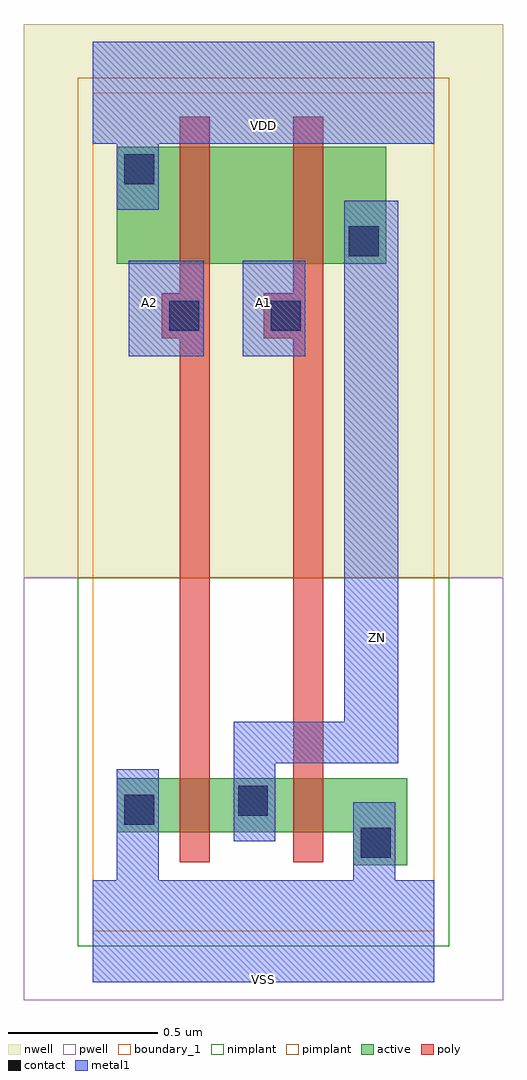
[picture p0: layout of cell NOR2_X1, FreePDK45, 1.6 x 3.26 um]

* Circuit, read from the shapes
.subckt NOR2_X1 A1 A2 VDD VSS ZN
M1 ZN A2 VSS VSUBS nfet w=0.18u l=0.1u
M2 VSS A1 ZN VSUBS nfet w=0.18u l=0.1u
M3 n1 A2 VDD n2 pfet w=0.39u l=0.1u
M4 ZN A1 n1 n2 pfet w=0.39u l=0.1u
.ends

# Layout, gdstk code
import gdstk
lib = gdstk.Library(unit=1e-6, precision=1e-09)
def R(c, l, rs):  # rectangles x0, y0, x1, y1
    for r in rs: c.add(gdstk.rectangle(r[:2], r[2:], *l))
def P(c, l, *ps):  # polygons
    for p in ps: c.add(gdstk.Polygon(p, *l))
active = (1, 0)
pwell = (2, 0)
nwell = (3, 0)
nimplant = (4, 0)
pimplant = (5, 0)
poly = (9, 0)
contact = (10, 0)
metal1 = (11, 0)
boundary_1 = (235, 1)

nor2_x1 = lib.new_cell('NOR2_X1')
R(nor2_x1, active, [(0.08,2.23,0.98,2.62)])
P(nor2_x1, active, [(0.08,0.33),(0.87,0.33),(0.87,0.22),(1.05,0.22),(1.05,0.51),(0.08,0.51)])
R(nor2_x1, pwell, [(-0.23,-0.23,1.37,1.18)])
R(nor2_x1, nwell, [(-0.23,1.18,1.37,3.03)])
R(nor2_x1, nimplant, [(-0.05,-0.05,1.19,1.18)])
R(nor2_x1, pimplant, [(-0.05,1.18,1.19,2.85)])
P(nor2_x1, poly, [(0.57,1.98),(0.67,1.98),(0.67,0.23),(0.77,0.23),(0.77,2.72),(0.67,2.72),(0.67,2.13),(0.57,2.13)],
  [(0.23,1.98),(0.29,1.98),(0.29,0.23),(0.39,0.23),(0.39,2.72),(0.29,2.72),(0.29,2.13),(0.23,2.13)])
R(nor2_x1, contact, [(0.895,0.245,0.995,0.345), (0.105,0.355,0.205,0.455), (0.485,0.385,0.585,0.485), (0.255,2.005,0.355,2.105), (0.595,2.005,0.695,2.105), (0.855,2.255,0.955,2.355), (0.105,2.495,0.205,2.595)])
R(nor2_x1, metal1, [(0.12,1.92,0.37,2.24), (0.12,1.92,0.37,2.24), (0.5,1.92,0.71,2.24), (0.5,1.92,0.71,2.24)])
P(nor2_x1, metal1, [(0.47,0.3),(0.61,0.3),(0.61,0.56),(1.02,0.56),(1.02,2.44),(0.84,2.44),(0.84,0.7),(0.47,0.7)],
  [(0,-0.17),(1.14,-0.17),(1.14,0.17),(1.01,0.17),(1.01,0.43),(0.87,0.43),(0.87,0.17),(0.22,0.17),(0.22,0.54),(0.08,0.54),(0.08,0.17),(0,0.17)],
  [(0,2.63),(0.08,2.63),(0.08,2.41),(0.22,2.41),(0.22,2.63),(1.14,2.63),(1.14,2.97),(0,2.97)],
  [(0,2.63),(0.08,2.63),(0.08,2.41),(0.22,2.41),(0.22,2.63),(1.14,2.63),(1.14,2.97),(0,2.97)],
  [(0,-0.17),(1.14,-0.17),(1.14,0.17),(1.01,0.17),(1.01,0.43),(0.87,0.43),(0.87,0.17),(0.22,0.17),(0.22,0.54),(0.08,0.54),(0.08,0.17),(0,0.17)],
  [(0.47,0.3),(0.61,0.3),(0.61,0.56),(1.02,0.56),(1.02,2.44),(0.84,2.44),(0.84,0.7),(0.47,0.7)])
R(nor2_x1, boundary_1, [(0,0,1.14,2.8)])
nor2_x1.add(gdstk.Label('ZN', (0.95,0.98), layer=11, texttype=0))
nor2_x1.add(gdstk.Label('VSS', (0.57,-0.16), layer=11, texttype=0))
nor2_x1.add(gdstk.Label('VDD', (0.57,2.69), layer=11, texttype=0))
nor2_x1.add(gdstk.Label('A2', (0.19,2.1), layer=11, texttype=0))
nor2_x1.add(gdstk.Label('A1', (0.57,2.1), layer=11, texttype=0))

lib.write_gds('NOR2_X1.gds')
